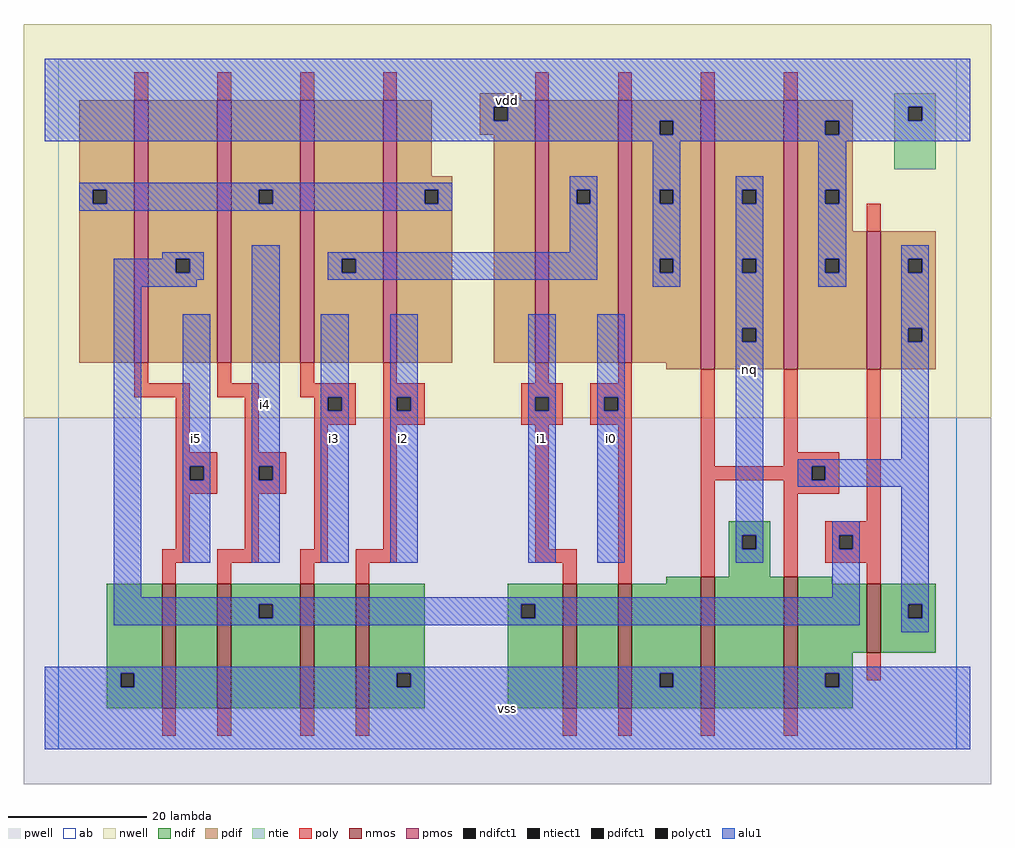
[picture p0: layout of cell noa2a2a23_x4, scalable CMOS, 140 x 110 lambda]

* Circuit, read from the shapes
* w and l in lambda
.subckt noa2a2a23_x4 i0 i1 i2 i3 i4 i5 nq vdd vss
M1 n1 i5 vss VSUBS nfet w=18 l=2
M2 n2 i4 n1 VSUBS nfet w=18 l=2
M3 n3 i3 n2 VSUBS nfet w=18 l=2
M4 vss i2 n3 VSUBS nfet w=18 l=2
M5 n4 i1 n2 VSUBS nfet w=18 l=2
M6 vss i0 n4 VSUBS nfet w=18 l=2
M7 nq n5 vss VSUBS nfet w=19 l=2 m=2
M8 n5 n2 vss VSUBS nfet w=10 l=2
M9 n2 i5 n6 vdd pfet w=38 l=2
M10 n6 i4 n2 vdd pfet w=38 l=2
M11 n7 i3 n6 vdd pfet w=38 l=2
M12 n6 i2 n7 vdd pfet w=38 l=2
M13 n7 i1 vdd vdd pfet w=38 l=2
M14 vdd i0 n7 vdd pfet w=38 l=2
M15 nq n5 vdd vdd pfet w=39 l=2 m=2
M16 n5 n2 vdd vdd pfet w=20 l=2
.ends

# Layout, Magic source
magic
tech scmos
<< ab >>
rect 0 0 130 100
<< nwell >>
rect -5 48 135 105
<< pwell >>
rect -5 -5 135 48
<< poly >>
rect 11 94 13 98
rect 23 94 25 98
rect 35 94 37 98
rect 47 94 49 98
rect 69 94 71 98
rect 81 94 83 98
rect 93 94 95 98
rect 105 94 107 98
rect 11 53 13 56
rect 23 53 25 56
rect 35 53 37 56
rect 47 53 49 56
rect 69 53 71 56
rect 81 53 83 56
rect 117 75 119 79
rect 11 51 19 53
rect 23 51 29 53
rect 35 51 43 53
rect 17 43 19 51
rect 27 43 29 51
rect 37 49 39 51
rect 41 49 43 51
rect 37 47 43 49
rect 47 51 53 53
rect 47 49 49 51
rect 51 49 53 51
rect 47 47 53 49
rect 67 51 73 53
rect 67 49 69 51
rect 71 49 73 51
rect 67 47 73 49
rect 77 51 83 53
rect 77 49 79 51
rect 81 49 83 51
rect 77 47 83 49
rect 17 41 23 43
rect 17 39 19 41
rect 21 39 23 41
rect 17 37 23 39
rect 27 41 33 43
rect 27 39 29 41
rect 31 39 33 41
rect 27 37 33 39
rect 17 29 19 37
rect 27 29 29 37
rect 37 29 39 47
rect 47 29 49 47
rect 15 27 19 29
rect 23 27 29 29
rect 35 27 39 29
rect 43 27 49 29
rect 69 29 71 47
rect 69 27 75 29
rect 15 24 17 27
rect 23 24 25 27
rect 35 24 37 27
rect 43 24 45 27
rect 73 24 75 27
rect 81 24 83 47
rect 93 41 95 55
rect 105 43 107 55
rect 105 41 113 43
rect 93 39 109 41
rect 111 39 113 41
rect 93 25 95 39
rect 105 37 113 39
rect 105 25 107 37
rect 117 33 119 55
rect 111 31 119 33
rect 111 29 113 31
rect 115 29 119 31
rect 111 27 119 29
rect 117 24 119 27
rect 117 10 119 14
rect 15 2 17 6
rect 23 2 25 6
rect 35 2 37 6
rect 43 2 45 6
rect 73 2 75 6
rect 81 2 83 6
rect 93 2 95 6
rect 105 2 107 6
<< ndif >>
rect 97 31 103 33
rect 97 29 99 31
rect 101 29 103 31
rect 97 25 103 29
rect 88 24 93 25
rect 7 11 15 24
rect 7 9 9 11
rect 11 9 15 11
rect 7 6 15 9
rect 17 6 23 24
rect 25 21 35 24
rect 25 19 29 21
rect 31 19 35 21
rect 25 6 35 19
rect 37 6 43 24
rect 45 11 53 24
rect 45 9 49 11
rect 51 9 53 11
rect 45 6 53 9
rect 65 21 73 24
rect 65 19 67 21
rect 69 19 73 21
rect 65 6 73 19
rect 75 6 81 24
rect 83 11 93 24
rect 83 9 87 11
rect 89 9 93 11
rect 83 6 93 9
rect 95 6 105 25
rect 107 24 112 25
rect 107 14 117 24
rect 119 21 127 24
rect 119 19 123 21
rect 125 19 127 21
rect 119 14 127 19
rect 107 11 115 14
rect 107 9 111 11
rect 113 9 115 11
rect 107 6 115 9
<< pdif >>
rect 61 94 67 95
rect 3 81 11 94
rect 3 79 5 81
rect 7 79 11 81
rect 3 56 11 79
rect 13 71 23 94
rect 13 69 17 71
rect 19 69 23 71
rect 13 56 23 69
rect 25 81 35 94
rect 25 79 29 81
rect 31 79 35 81
rect 25 56 35 79
rect 37 71 47 94
rect 37 69 41 71
rect 43 69 47 71
rect 37 56 47 69
rect 49 83 54 94
rect 61 93 69 94
rect 61 91 63 93
rect 65 91 69 93
rect 61 89 69 91
rect 49 81 57 83
rect 49 79 53 81
rect 55 79 57 81
rect 49 56 57 79
rect 63 56 69 89
rect 71 81 81 94
rect 71 79 75 81
rect 77 79 81 81
rect 71 56 81 79
rect 83 91 93 94
rect 83 89 87 91
rect 89 89 93 91
rect 83 81 93 89
rect 83 79 87 81
rect 89 79 93 81
rect 83 71 93 79
rect 83 69 87 71
rect 89 69 93 71
rect 83 56 93 69
rect 88 55 93 56
rect 95 81 105 94
rect 95 79 99 81
rect 101 79 105 81
rect 95 71 105 79
rect 95 69 99 71
rect 101 69 105 71
rect 95 61 105 69
rect 95 59 99 61
rect 101 59 105 61
rect 95 55 105 59
rect 107 91 115 94
rect 107 89 111 91
rect 113 89 115 91
rect 107 81 115 89
rect 107 79 111 81
rect 113 79 115 81
rect 107 75 115 79
rect 107 71 117 75
rect 107 69 111 71
rect 113 69 117 71
rect 107 55 117 69
rect 119 71 127 75
rect 119 69 123 71
rect 125 69 127 71
rect 119 61 127 69
rect 119 59 123 61
rect 125 59 127 61
rect 119 55 127 59
<< alu1 >>
rect -2 93 132 100
rect -2 91 63 93
rect 65 91 123 93
rect 125 91 132 93
rect -2 89 87 91
rect 89 89 111 91
rect 113 89 132 91
rect -2 88 132 89
rect 3 81 57 82
rect 3 79 5 81
rect 7 79 29 81
rect 31 79 53 81
rect 55 79 57 81
rect 3 78 57 79
rect 74 81 78 83
rect 74 79 75 81
rect 77 79 78 81
rect 15 71 21 72
rect 8 69 17 71
rect 19 69 21 71
rect 8 68 21 69
rect 8 67 20 68
rect 8 22 12 67
rect 18 41 22 63
rect 18 39 19 41
rect 21 39 22 41
rect 18 27 22 39
rect 28 41 32 73
rect 74 72 78 79
rect 39 71 78 72
rect 39 69 41 71
rect 43 69 78 71
rect 39 68 78 69
rect 86 81 90 88
rect 86 79 87 81
rect 89 79 90 81
rect 86 71 90 79
rect 86 69 87 71
rect 89 69 90 71
rect 86 67 90 69
rect 98 81 102 83
rect 98 79 99 81
rect 101 79 102 81
rect 98 71 102 79
rect 98 69 99 71
rect 101 69 102 71
rect 28 39 29 41
rect 31 39 32 41
rect 28 27 32 39
rect 38 51 42 63
rect 38 49 39 51
rect 41 49 42 51
rect 38 27 42 49
rect 48 51 52 63
rect 48 49 49 51
rect 51 49 52 51
rect 48 27 52 49
rect 68 51 72 63
rect 68 49 69 51
rect 71 49 72 51
rect 68 27 72 49
rect 78 51 82 63
rect 78 49 79 51
rect 81 49 82 51
rect 78 27 82 49
rect 98 61 102 69
rect 110 81 114 88
rect 110 79 111 81
rect 113 79 114 81
rect 110 71 114 79
rect 110 69 111 71
rect 113 69 114 71
rect 110 67 114 69
rect 122 71 126 73
rect 122 69 123 71
rect 125 69 126 71
rect 98 59 99 61
rect 101 59 102 61
rect 98 31 102 59
rect 122 61 126 69
rect 122 59 123 61
rect 125 59 126 61
rect 122 42 126 59
rect 107 41 126 42
rect 107 39 109 41
rect 111 39 126 41
rect 107 38 126 39
rect 98 29 99 31
rect 101 29 102 31
rect 98 27 102 29
rect 112 31 116 33
rect 112 29 113 31
rect 115 29 116 31
rect 112 22 116 29
rect 8 21 116 22
rect 8 19 29 21
rect 31 19 67 21
rect 69 19 116 21
rect 8 18 116 19
rect 122 21 126 38
rect 122 19 123 21
rect 125 19 126 21
rect 122 17 126 19
rect -2 11 132 12
rect -2 9 9 11
rect 11 9 49 11
rect 51 9 87 11
rect 89 9 111 11
rect 113 9 132 11
rect -2 0 132 9
<< ntie >>
rect 121 93 127 95
rect 121 91 123 93
rect 125 91 127 93
rect 121 84 127 91
<< nmos >>
rect 15 6 17 24
rect 23 6 25 24
rect 35 6 37 24
rect 43 6 45 24
rect 73 6 75 24
rect 81 6 83 24
rect 93 6 95 25
rect 105 6 107 25
rect 117 14 119 24
<< pmos >>
rect 11 56 13 94
rect 23 56 25 94
rect 35 56 37 94
rect 47 56 49 94
rect 69 56 71 94
rect 81 56 83 94
rect 93 55 95 94
rect 105 55 107 94
rect 117 55 119 75
<< polyct1 >>
rect 39 49 41 51
rect 49 49 51 51
rect 69 49 71 51
rect 79 49 81 51
rect 19 39 21 41
rect 29 39 31 41
rect 109 39 111 41
rect 113 29 115 31
<< ndifct1 >>
rect 99 29 101 31
rect 9 9 11 11
rect 29 19 31 21
rect 49 9 51 11
rect 67 19 69 21
rect 87 9 89 11
rect 123 19 125 21
rect 111 9 113 11
<< ntiect1 >>
rect 123 91 125 93
<< pdifct1 >>
rect 5 79 7 81
rect 17 69 19 71
rect 29 79 31 81
rect 41 69 43 71
rect 63 91 65 93
rect 53 79 55 81
rect 75 79 77 81
rect 87 89 89 91
rect 87 79 89 81
rect 87 69 89 71
rect 99 79 101 81
rect 99 69 101 71
rect 99 59 101 61
rect 111 89 113 91
rect 111 79 113 81
rect 111 69 113 71
rect 123 69 125 71
rect 123 59 125 61
<< labels >>
rlabel alu1 20 45 20 45 6 i5
rlabel alu1 40 45 40 45 6 i3
rlabel alu1 50 45 50 45 6 i2
rlabel alu1 30 50 30 50 6 i4
rlabel alu1 65 6 65 6 6 vss
rlabel alu1 80 45 80 45 6 i0
rlabel alu1 70 45 70 45 6 i1
rlabel alu1 65 94 65 94 6 vdd
rlabel alu1 100 55 100 55 6 nq
<< end >>
